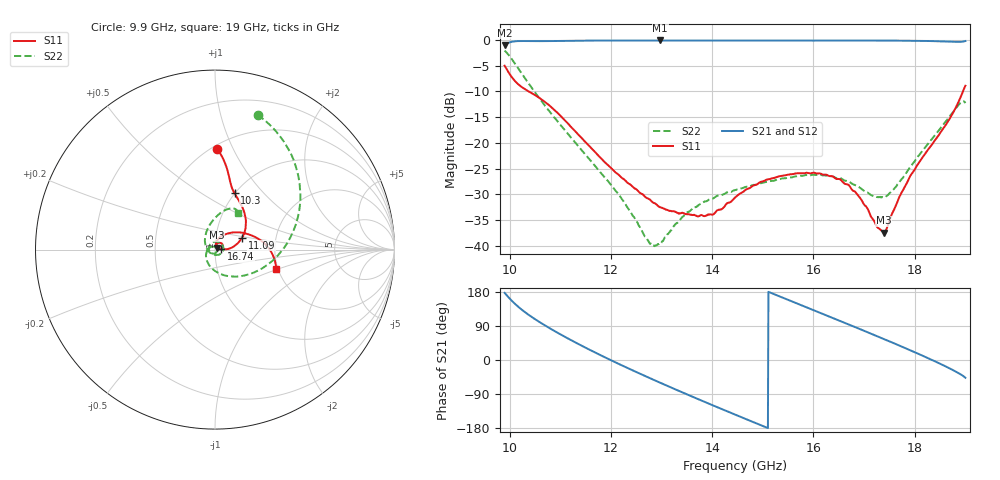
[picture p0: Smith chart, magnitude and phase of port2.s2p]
! RsaToolbox (C) 2015 Rohde & Schwarz America
! Number of points: 911
! Number of ports: 2
! Balanced ports?: No
# Hz S RI R 50
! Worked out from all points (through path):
!   911 points, 9.9 GHz to 19 GHz, reference 50 ohm
!   highest |S21| = -0.13 dB at 12.97 GHz (marker M1); lowest = -1.0 dB at 9.9 GHz (marker M2)
!   group delay of S21, straight-line fit = 164 ps
!   lowest |S11| = -37.4 dB at 17.39 GHz (marker M3), VSWR 1.03, Z = 50.9 + j1.04 ohm
!   |S11| at or under -10 dB: 10.37 GHz to 18.95 GHz (8.581 GHz wide, 58.5 % of centre)
!   |S22| runs from -40.1 to -2.1 dB; largest |S21 - S12| = 0
!   S11 on the Smith chart (normalised r, x): 9.9 GHz: 0.53, +0.87; 10.3 GHz: 1.00, +0.70; 11.09 GHz: 1.34, +0.18; 16.74 GHz: 1.07, +0.01; 19 GHz: 1.95, -0.49
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9.9e9  0.0127 0.5606  -0.8893 0.0424  -0.8893 0.0424  0.2381 0.7503
1.008e10  0.0791 0.403  -0.8451 0.4626  -0.8451 0.4626  0.4672 0.3942
1.03e10  0.1091 0.3136  -0.5775 0.7823  -0.5775 0.7823  0.4195 0.0668
1.067e10  0.1668 0.1928  -0.0589 0.9685  -0.0589 0.9685  0.1961 -0.1356
1.109e10  0.1509 0.0663  0.4696 0.8561  0.4696 0.8561  0.0197 -0.1309
1.142e10  0.1095 0.0207  0.7749 0.6019  0.7749 0.6019  -0.0393 -0.0751
1.177e10  0.0735 0.00338  0.9526 0.2429  0.9526 0.2429  -0.0488 -0.0208
1.213e10  0.05 0.000999  0.9725 -0.1506  0.9725 -0.1506  -0.0309 0.0102
1.274e10  0.0283 0.00413  0.6819 -0.7108  0.6819 -0.7108  0.00541 0.00971
1.294e10  0.0232 0.00662  0.521 -0.8361  0.521 -0.8361  0.0103 0.000968
1.297e10  0.0226 0.00674  0.4949 -0.8519  0.4949 -0.8519  0.0105 -0.000417
1.368e10  0.0141 0.0135  -0.1859 -0.9672  -0.1859 -0.9672  -0.00771 -0.0224
1.445e10  0.00956 0.0278  -0.7965 -0.5789  -0.7965 -0.5789  -0.0346 0.00375
1.52e10  0.0241 0.0385  -0.98 0.0873  -0.98 0.0873  -0.00934 0.0416
1.597e10  0.0424 0.0281  -0.6725 0.7174  -0.6725 0.7174  0.0393 0.0288
1.674e10  0.0358 0.00423  -0.0227 0.9828  -0.0227 0.9828  0.0352 -0.0206
1.739e10  0.00865 0.0103  0.5577 0.8085  0.5577 0.8085  -0.0167 -0.0244
1.749e10  0.00723 0.0154  0.6339 0.7497  0.6339 0.7497  -0.0252 -0.0197
1.791e10  0.00884 0.0467  0.881 0.4257  0.881 0.4257  -0.0528 0.0241
1.83e10  0.0433 0.0794  0.9715 0.0444  0.9715 0.0444  -0.0503 0.09
1.88e10  0.1985 0.0809  0.8288 -0.4762  0.8288 -0.4762  0.0376 0.2087
1.9e10  0.3409 -0.1087  0.6643 -0.7105  0.6643 -0.7105  0.1286 0.2057
